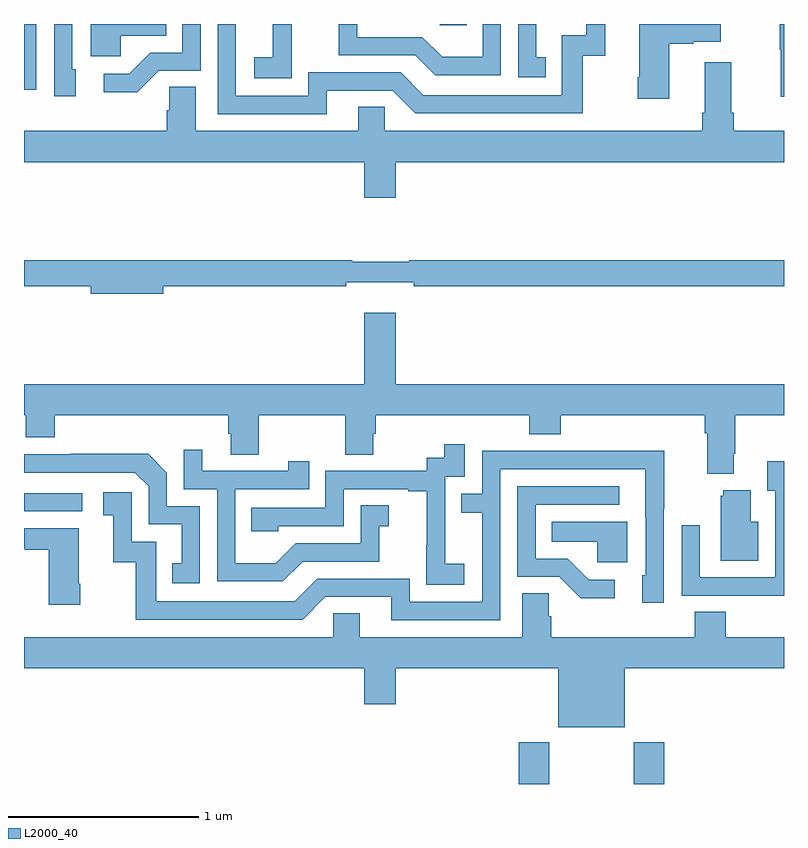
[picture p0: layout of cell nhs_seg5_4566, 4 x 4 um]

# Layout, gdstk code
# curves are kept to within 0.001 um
import gdstk
lib = gdstk.Library(unit=1e-6, precision=1e-09)
def R(c, l, rs):  # rectangles x0, y0, x1, y1
    for r in rs: c.add(gdstk.rectangle(r[:2], r[2:], *l))
def P(c, l, *ps):  # polygons
    for p in ps: c.add(gdstk.Polygon(p, *l))
L2000_40 = (2000, 40)

nhs_seg5_4566 = lib.new_cell('nhs_seg5_4566')
R(nhs_seg5_4566, L2000_40, [(381.605,874.799,381.765,875.02), (382.21,874.799,382.37,875.02), (379,876.234,379.306,876.33), (379,878.454,379.065,878.799), (381.189,878.793,381.329,878.799)])
P(nhs_seg5_4566, L2000_40, [(379.273,878.562),(379.254,878.562),(379.254,878.799),(379.158,878.799),(379.158,878.418),(379.273,878.418)],
  [(380.409,878.719),(380.408,878.719),(380.408,878.799),(380.309,878.799),(380.309,878.623),(380.211,878.623),(380.211,878.513),(380.409,878.513)],
  [(379.71,878.553),(379.929,878.553),(379.929,878.799),(379.833,878.799),(379.833,878.649),(379.664,878.649),(379.553,878.538),(379.419,878.538),(379.419,878.441),(379.597,878.441)],
  [(379.509,878.738),(379.748,878.738),(379.748,878.799),(379.352,878.799),(379.352,878.63),(379.509,878.63)],
  [(381.746,878.625),(381.697,878.625),(381.697,878.799),(381.6,878.799),(381.6,878.52),(381.746,878.52)],
  [(380.593,878.448),(380.94,878.448),(381.06,878.328),(381.94,878.328),(381.94,878.631),(382.058,878.631),(382.058,878.799),(381.96,878.799),(381.96,878.739),(381.831,878.739),(381.831,878.424),(381.102,878.424),(380.982,878.544),(380.496,878.544),(380.496,878.421),(380.115,878.421),(380.115,878.799),(380.019,878.799),(380.019,878.325),(380.593,878.325)],
  [(383,878.799),(382.977,878.799),(382.977,878.664),(382.984,878.664),(382.984,878.415),(383,878.415)],
  [(381.51,878.799),(381.414,878.799),(381.414,878.626),(381.2,878.626),(381.096,878.73),(380.754,878.73),(380.754,878.799),(380.656,878.799),(380.656,878.634),(381.059,878.634),(381.164,878.529),(381.51,878.529)],
  [(382.396,878.695),(382.523,878.695),(382.523,878.705),(382.666,878.705),(382.666,878.799),(382.238,878.799),(382.238,878.518),(382.231,878.518),(382.231,878.406),(382.396,878.406)],
  [(380.956,878.072),(383,878.072),(383,878.236),(382.736,878.236),(382.736,878.332),(382.723,878.332),(382.723,878.599),(382.583,878.599),(382.583,878.332),(382.571,878.332),(382.571,878.236),(380.898,878.236),(380.898,878.363),(380.759,878.363),(380.759,878.236),(379.903,878.236),(379.903,878.468),(379.764,878.468),(379.764,878.345),(379.751,878.345),(379.751,878.236),(379,878.236),(379,878.072),(380.792,878.072),(380.792,877.884),(380.956,877.884)],
  [(379.732,877.42),(380.696,877.42),(380.696,877.439),(381.052,877.439),(381.052,877.42),(383,877.42),(383,877.556),(381.028,877.556),(381.028,877.549),(380.728,877.549),(380.728,877.556),(379,877.556),(379,877.42),(379.352,877.42),(379.352,877.378),(379.732,877.378)],
  [(379,876.74),(379.01,876.74),(379.01,876.623),(379.163,876.623),(379.163,876.74),(380.075,876.74),(380.075,876.642),(380.087,876.642),(380.087,876.532),(380.235,876.532),(380.235,876.74),(380.692,876.74),(380.692,876.532),(380.839,876.532),(380.839,876.642),(380.852,876.642),(380.852,876.74),(381.659,876.74),(381.659,876.641),(381.824,876.641),(381.824,876.74),(382.583,876.74),(382.583,876.644),(382.595,876.644),(382.595,876.431),(382.735,876.431),(382.735,876.538),(382.743,876.538),(382.743,876.74),(383,876.74),(383,876.904),(380.956,876.904),(380.956,877.279),(380.792,877.279),(380.792,876.904),(379,876.904)],
  [(381.316,875.959),(381.218,875.959),(381.218,876.188),(381.216,876.188),(381.216,876.417),(381.321,876.417),(381.321,876.586),(381.213,876.586),(381.213,876.516),(381.12,876.516),(381.12,876.447),(380.586,876.447),(380.586,876.252),(380.197,876.252),(380.197,876.129),(380.337,876.129),(380.337,876.156),(380.682,876.156),(380.682,876.351),(381.023,876.351),(381.023,876.339),(381.119,876.339),(381.119,876.055),(381.118,876.055),(381.118,875.849),(381.316,875.849)],
  [(380.467,875.97),(380.871,875.97),(380.871,876.155),(380.92,876.155),(380.92,876.265),(380.772,876.265),(380.772,876.066),(380.43,876.066),(380.326,875.962),(380.112,875.962),(380.112,876.351),(380.501,876.351),(380.501,876.499),(380.39,876.499),(380.39,876.447),(379.939,876.447),(379.939,876.559),(379.842,876.559),(379.842,876.351),(380.016,876.351),(380.016,875.865),(380.362,875.865)],
  [(381.507,876.456),(382.271,876.456),(382.272,875.898),(382.253,875.898),(382.253,875.754),(382.368,875.754),(382.368,876.247),(382.371,876.247),(382.371,876.554),(381.907,876.554),(381.907,876.552),(381.411,876.552),(381.411,876.327),(381.301,876.327),(381.301,876.226),(381.411,876.226),(381.411,875.757),(381.03,875.757),(381.03,875.88),(380.544,875.88),(380.424,875.76),(379.695,875.76),(379.695,876.075),(379.566,876.075),(379.566,876.334),(379.416,876.334),(379.416,876.213),(379.469,876.213),(379.469,875.967),(379.587,875.967),(379.587,875.664),(380.466,875.664),(380.586,875.784),(380.933,875.784),(380.933,875.661),(381.507,875.661)],
  [(379.926,876.261),(379.752,876.261),(379.752,876.438),(379.654,876.536),(379.246,876.536),(379.246,876.534),(379,876.534),(379,876.438),(379.584,876.438),(379.656,876.366),(379.656,876.165),(379.829,876.165),(379.829,875.961),(379.78,875.961),(379.78,875.856),(379.926,875.856)],
  [(383,876.499),(382.913,876.499),(382.913,876.343),(382.953,876.343),(382.953,875.886),(382.557,875.886),(382.557,876.16),(382.461,876.16),(382.461,875.79),(382.777,875.79),(382.777,875.789),(383,875.789)],
  [(382.108,875.874),(381.973,875.874),(381.862,875.985),(381.693,875.985),(381.693,876.27),(382.132,876.27),(382.132,876.366),(381.597,876.366),(381.597,875.889),(381.816,875.889),(381.929,875.777),(382.108,875.777)],
  [(382.864,876.178),(382.825,876.178),(382.825,876.346),(382.679,876.346),(382.679,876.315),(382.667,876.315),(382.667,875.975),(382.864,875.975)],
  [(382.174,876.178),(381.778,876.178),(381.778,876.074),(382.017,876.074),(382.017,875.966),(382.174,875.966)],
  [(379.296,875.854),(379.288,875.854),(379.288,876.145),(379,876.145),(379,876.041),(379.004,876.041),(379.004,876.031),(379.13,876.031),(379.13,875.742),(379.296,875.742)],
  [(382.529,875.705),(382.529,875.572),(381.776,875.572),(381.776,875.681),(381.762,875.681),(381.762,875.804),(381.623,875.804),(381.623,875.572),(380.767,875.572),(380.767,875.699),(380.628,875.699),(380.628,875.572),(379,875.572),(379,875.408),(380.792,875.408),(380.792,875.22),(380.956,875.22),(380.956,875.408),(381.812,875.408),(381.812,875.099),(382.162,875.099),(382.162,875.408),(383,875.408),(383,875.572),(382.694,875.572),(382.694,875.705)])

lib.write_gds('nhs_seg5_4566.gds')
